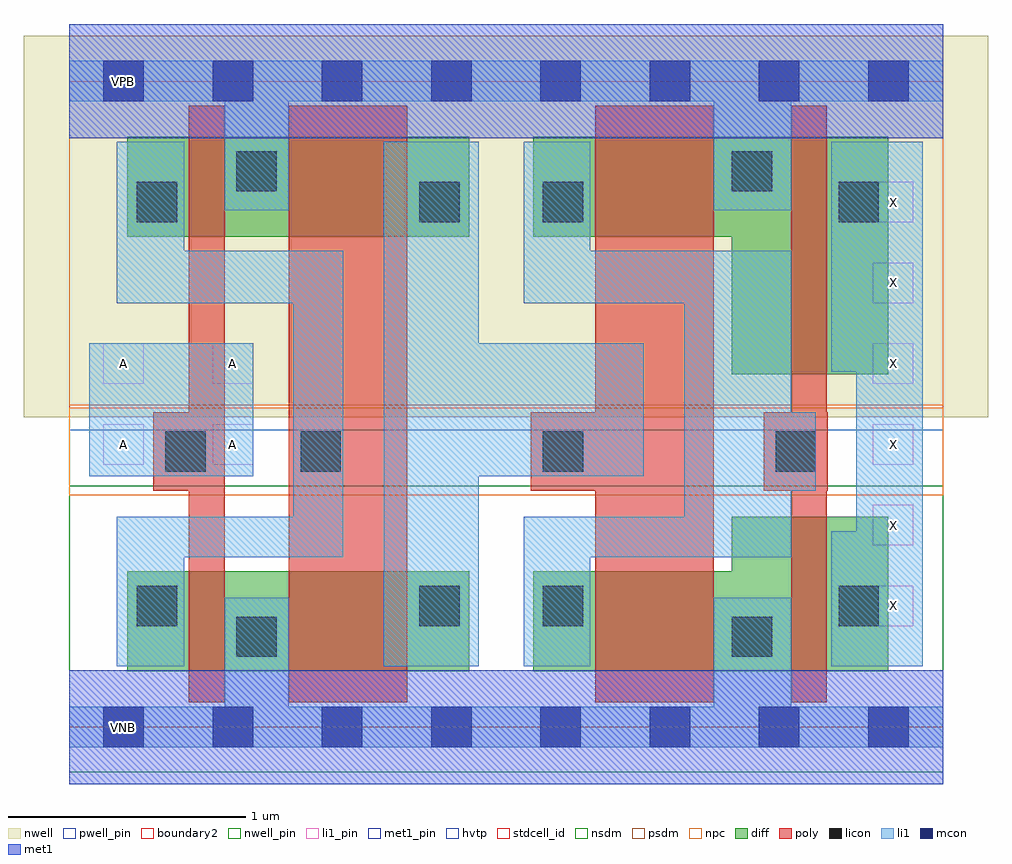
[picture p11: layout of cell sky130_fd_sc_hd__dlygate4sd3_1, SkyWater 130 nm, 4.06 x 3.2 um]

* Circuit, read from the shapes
.subckt sky130_fd_sc_hd__dlygate4sd3_1 A VGND VNB VPB VPWR X
XM1 VGND A n1 VNB sky130_fd_pr__nfet_01v8 w=0.42 l=0.15
XM2 n2 n1 VGND VNB sky130_fd_pr__nfet_01v8 w=0.42 l=0.5
XM3 VGND n2 n3 VNB sky130_fd_pr__nfet_01v8 w=0.42 l=0.5
XM4 X n3 VGND VNB sky130_fd_pr__nfet_01v8 w=0.65 l=0.15
XM5 VPWR A n1 VPB sky130_fd_pr__pfet_01v8_hvt w=0.42 l=0.15
XM6 n2 n1 VPWR VPB sky130_fd_pr__pfet_01v8_hvt w=0.42 l=0.5
XM7 VPWR n2 n3 VPB sky130_fd_pr__pfet_01v8_hvt w=0.42 l=0.5
XM8 X n3 VPWR VPB sky130_fd_pr__pfet_01v8_hvt w=1 l=0.15
.ends

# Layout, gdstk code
import gdstk
lib = gdstk.Library(unit=1e-6, precision=1e-09)
def R(c, l, rs):  # rectangles x0, y0, x1, y1
    for r in rs: c.add(gdstk.rectangle(r[:2], r[2:], *l))
def A(c, l, x, y, w, h, nx, ny, dx, dy):  # array of equal rectangles
    R(c, l, [(x+i*dx, y+j*dy, x+i*dx+w, y+j*dy+h) for i in range(nx) for j in range(ny)])
def P(c, l, *ps):  # polygons
    for p in ps: c.add(gdstk.Polygon(p, *l))
nwell_pin = (64, 16)
nwell = (64, 20)
diff = (65, 20)
poly = (66, 20)
licon = (66, 44)
li1_pin = (67, 16)
li1 = (67, 20)
mcon = (67, 44)
met1_pin = (68, 16)
met1 = (68, 20)
hvtp = (78, 44)
stdcell_id = (81, 4)
nsdm = (93, 44)
psdm = (94, 20)
npc = (95, 20)
pwell_pin = (122, 16)
boundary2 = (236, 0)

sky130_fd_sc_hd__dlygate = lib.new_cell('sky130_fd_sc_hd__dlygate4sd3_1')
R(sky130_fd_sc_hd__dlygate, nwell_pin, [(0.145,2.635,0.315,2.805)])
R(sky130_fd_sc_hd__dlygate, nwell, [(-0.19,1.305,3.87,2.91)])
R(sky130_fd_sc_hd__dlygate, diff, [(0.245,0.235,1.685,0.655), (0.245,2.065,1.685,2.485)])
P(sky130_fd_sc_hd__dlygate, diff, [(3.45,0.885),(2.79,0.885),(2.79,0.655),(1.955,0.655),(1.955,0.235),(3.45,0.235)],
  [(3.45,2.485),(1.955,2.485),(1.955,2.065),(2.79,2.065),(2.79,1.485),(3.45,1.485)])
R(sky130_fd_sc_hd__dlygate, poly, [(0.925,0.105,1.425,2.615)])
P(sky130_fd_sc_hd__dlygate, poly, [(2.715,2.615),(2.215,2.615),(2.215,1.325),(1.945,1.325),(1.945,0.995),(2.215,0.995),(2.215,0.105),(2.715,0.105)],
  [(3.195,1.325),(3.19,1.325),(3.19,2.615),(3.04,2.615),(3.04,1.325),(2.925,1.325),(2.925,0.995),(3.04,0.995),(3.04,0.105),(3.19,0.105),(3.19,0.995),(3.195,0.995)],
  [(0.655,2.615),(0.505,2.615),(0.505,1.325),(0.355,1.325),(0.355,0.995),(0.505,0.995),(0.505,0.105),(0.655,0.105)])
R(sky130_fd_sc_hd__dlygate, licon, [(0.705,0.295,0.875,0.465), (2.79,0.295,2.96,0.465), (0.285,0.425,0.455,0.595), (1.475,0.425,1.645,0.595), (1.995,0.425,2.165,0.595), (3.24,0.425,3.41,0.595), (0.405,1.075,0.575,1.245), (0.975,1.075,1.145,1.245), (1.995,1.075,2.165,1.245), (2.975,1.075,3.145,1.245), (0.285,2.125,0.455,2.295), (1.475,2.125,1.645,2.295), (1.995,2.125,2.165,2.295), (3.24,2.125,3.41,2.295), (0.705,2.255,0.875,2.425), (2.79,2.255,2.96,2.425)])
A(sky130_fd_sc_hd__dlygate, li1_pin, 3.385, 0.425, 0.17, 0.17, 1, 6, 0, 0.34)
R(sky130_fd_sc_hd__dlygate, li1_pin, [(0.145,1.105,0.315,1.275), (0.605,1.105,0.775,1.275), (0.145,1.445,0.315,1.615), (0.605,1.445,0.775,1.615)])
R(sky130_fd_sc_hd__dlygate, li1, [(0.085,1.055,0.775,1.615)])
P(sky130_fd_sc_hd__dlygate, li1, [(3.68,0.085),(3.04,0.085),(3.04,0.545),(2.715,0.545),(2.715,0.085),(0.925,0.085),(0.925,0.545),(0.655,0.545),(0.655,0.085),(0,0.085),(0,-0.085),(3.68,-0.085)],
  [(3.68,2.805),(0,2.805),(0,2.635),(0.655,2.635),(0.655,2.175),(0.925,2.175),(0.925,2.635),(2.715,2.635),(2.715,2.175),(3.04,2.175),(3.04,2.635),(3.68,2.635)],
  [(1.155,2.005),(0.485,2.005),(0.485,2.465),(0.2,2.465),(0.2,1.785),(0.945,1.785),(0.945,0.885),(0.2,0.885),(0.2,0.255),(0.485,0.255),(0.485,0.715),(1.155,0.715)],
  [(2.42,1.615),(1.725,1.615),(1.725,2.465),(1.325,2.465),(1.325,0.255),(1.725,0.255),(1.725,1.055),(2.42,1.055)],
  [(3.145,1.325),(3.04,1.325),(3.04,2.005),(2.195,2.005),(2.195,2.465),(1.915,2.465),(1.915,1.785),(2.59,1.785),(2.59,0.885),(1.915,0.885),(1.915,0.255),(2.195,0.255),(2.195,0.715),(3.04,0.715),(3.04,0.995),(3.145,0.995)],
  [(3.595,2.465),(3.21,2.465),(3.21,1.495),(3.315,1.495),(3.315,0.825),(3.21,0.825),(3.21,0.255),(3.595,0.255)])
A(sky130_fd_sc_hd__dlygate, mcon, 0.145, -0.085, 0.17, 0.17, 8, 2, 0.46, 2.72)
R(sky130_fd_sc_hd__dlygate, met1_pin, [(0.145,-0.085,0.315,0.085), (0.145,2.635,0.315,2.805)])
R(sky130_fd_sc_hd__dlygate, hvtp, [(0,1.25,3.68,2.72)])
R(sky130_fd_sc_hd__dlygate, stdcell_id, [(0,0,3.68,2.72)])
R(sky130_fd_sc_hd__dlygate, nsdm, [(0,-0.19,3.68,1.015)])
R(sky130_fd_sc_hd__dlygate, psdm, [(0,1.355,3.68,2.91)])
R(sky130_fd_sc_hd__dlygate, npc, [(0,0.975,3.68,1.345)])
R(sky130_fd_sc_hd__dlygate, pwell_pin, [(0.145,-0.085,0.315,0.085)])
R(sky130_fd_sc_hd__dlygate, boundary2, [(0,0,3.68,2.72)])
sky130_fd_sc_hd__dlygate.add(gdstk.FlexPath([(0,2.72),(3.68,2.72)], 0.48, ends="flush", simple_path=True, layer=68, datatype=20))  # met1
sky130_fd_sc_hd__dlygate.add(gdstk.FlexPath([(0,0),(3.68,0)], 0.48, ends="flush", simple_path=True, layer=68, datatype=20))  # met1
sky130_fd_sc_hd__dlygate.add(gdstk.Label('A', (0.23,1.19), layer=67, texttype=5))
sky130_fd_sc_hd__dlygate.add(gdstk.Label('X', (3.47,0.85), layer=67, texttype=5))
sky130_fd_sc_hd__dlygate.add(gdstk.Label('A', (0.23,1.53), layer=67, texttype=5))
sky130_fd_sc_hd__dlygate.add(gdstk.Label('X', (3.47,0.51), layer=67, texttype=5))
sky130_fd_sc_hd__dlygate.add(gdstk.Label('A', (0.69,1.19), layer=67, texttype=5))
sky130_fd_sc_hd__dlygate.add(gdstk.Label('A', (0.69,1.53), layer=67, texttype=5))
sky130_fd_sc_hd__dlygate.add(gdstk.Label('X', (3.47,2.21), layer=67, texttype=5))
sky130_fd_sc_hd__dlygate.add(gdstk.Label('X', (3.47,1.53), layer=67, texttype=5))
sky130_fd_sc_hd__dlygate.add(gdstk.Label('X', (3.47,1.87), layer=67, texttype=5))
sky130_fd_sc_hd__dlygate.add(gdstk.Label('X', (3.47,1.19), layer=67, texttype=5))
sky130_fd_sc_hd__dlygate.add(gdstk.Label('VPB', (0.23,2.72), layer=64, texttype=5))
sky130_fd_sc_hd__dlygate.add(gdstk.Label('VNB', (0.23,0), layer=64, texttype=59))
sky130_fd_sc_hd__dlygate.add(gdstk.Label('VGND', (0.23,0), layer=68, texttype=5))
sky130_fd_sc_hd__dlygate.add(gdstk.Label('VPWR', (0.23,2.72), layer=68, texttype=5))
sky130_fd_sc_hd__dlygate.add(gdstk.Label('dlygate4sd3_1', (0,0), layer=83, texttype=44))

lib.write_gds('sky130_fd_sc_hd__dlygate4sd3_1.gds')
